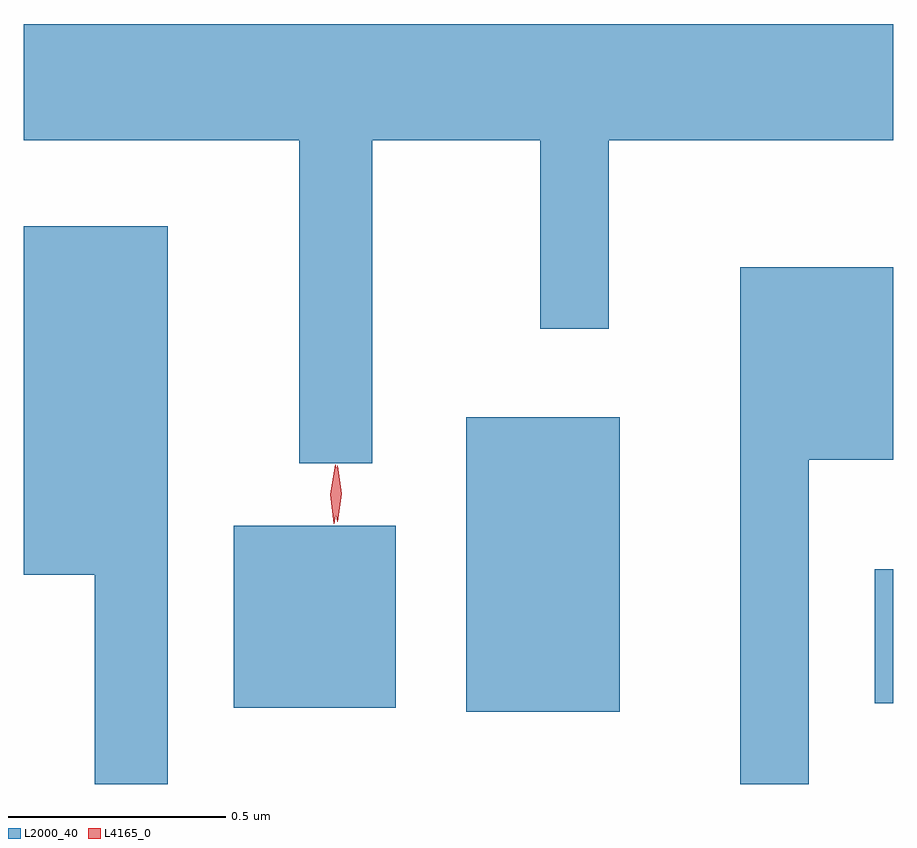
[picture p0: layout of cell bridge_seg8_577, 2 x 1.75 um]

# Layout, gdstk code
import gdstk
lib = gdstk.Library(unit=1e-6, precision=1e-09)
def R(c, l, rs):  # rectangles x0, y0, x1, y1
    for r in rs: c.add(gdstk.rectangle(r[:2], r[2:], *l))
def P(c, l, *ps):  # polygons
    for p in ps: c.add(gdstk.Polygon(p, *l))
L2000_40 = (2000, 40)
L4165_0 = (4165, 0)

bridge_seg8_577 = lib.new_cell('bridge_seg8_577')
R(bridge_seg8_577, L2000_40, [(548.286,1810.681,548.639,1811.359), (547.751,1810.691,548.124,1811.109), (549.226,1810.701,549.268,1811.009)])
P(bridge_seg8_577, L2000_40, [(548.069,1811.996),(548.456,1811.996),(548.456,1811.563),(548.614,1811.563),(548.614,1811.996),(549.268,1811.996),(549.268,1812.264),(547.268,1812.264),(547.268,1811.996),(547.901,1811.996),(547.901,1811.253),(548.069,1811.253)],
  [(547.599,1811.799),(547.268,1811.799),(547.268,1810.996),(547.431,1810.996),(547.431,1810.515),(547.599,1810.515)],
  [(549.074,1811.261),(549.268,1811.261),(549.268,1811.704),(548.916,1811.704),(548.916,1810.515),(549.074,1810.515)])
P(bridge_seg8_577, L4165_0, [(547.989,1811.118),(547.989,1811.118),(547.979,1811.183),(547.989,1811.247),(547.989,1811.247),(547.99,1811.247),(547.999,1811.183),(547.99,1811.118)],
  [(547.981,1811.114),(547.981,1811.114),(547.973,1811.182),(547.984,1811.25),(547.985,1811.25),(547.985,1811.25),(547.993,1811.182),(547.982,1811.114)])

lib.write_gds('bridge_seg8_577.gds')
